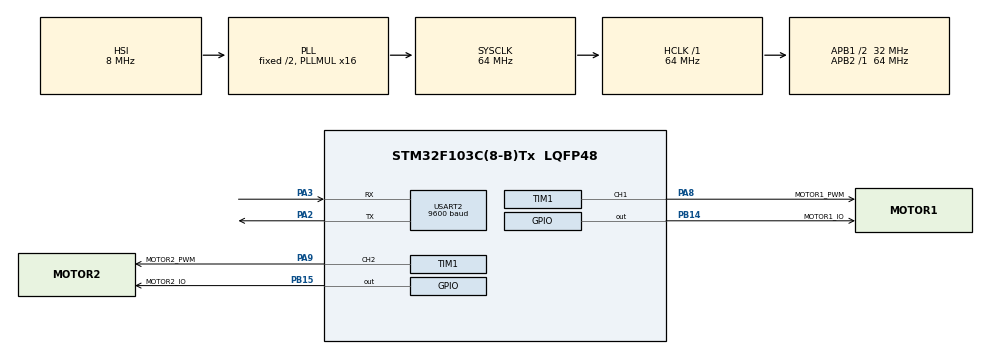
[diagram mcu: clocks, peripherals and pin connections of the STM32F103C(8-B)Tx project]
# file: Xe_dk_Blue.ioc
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Mcu.Family=STM32F1
Mcu.Name=STM32F103C(8-B)Tx
Mcu.Package=LQFP48
NVIC.PriorityGroup=NVIC_PRIORITYGROUP_4
PA13.Mode=Serial_Wire
PA13.Signal=SYS_JTMS-SWDIO
PA14.Mode=Serial_Wire
PA14.Signal=SYS_JTCK-SWCLK
PA2.Mode=Asynchronous
PA2.Signal=USART2_TX
PA3.Mode=Asynchronous
PA3.Signal=USART2_RX
PA8.GPIO_Label=MOTOR1_PWM
PA8.Signal=S_TIM1_CH1
PA9.GPIO_Label=MOTOR2_PWM
PA9.Signal=S_TIM1_CH2
PB14.GPIO_Label=MOTOR1_IO
PB14.Signal=GPIO_Output
PB15.GPIO_Label=MOTOR2_IO
PB15.Signal=GPIO_Output
ProjectManager.HeapSize=0x200
ProjectManager.StackSize=0x400
ProjectManager.TargetToolchain=MDK-ARM V5.32
RCC.AHBFreq_Value=64000000
RCC.APB1CLKDivider=RCC_HCLK_DIV2
RCC.APB1Freq_Value=32000000
RCC.APB1TimFreq_Value=64000000
RCC.APB2Freq_Value=64000000
RCC.APB2TimFreq_Value=64000000
RCC.HCLKFreq_Value=64000000
RCC.PLLMUL=RCC_PLL_MUL16
RCC.SYSCLKFreq_VALUE=64000000
RCC.SYSCLKSource=RCC_SYSCLKSOURCE_PLLCLK
RCC.USBFreq_Value=64000000
SH.S_TIM1_CH1.0=TIM1_CH1,PWM Generation1 CH1
SH.S_TIM1_CH2.0=TIM1_CH2,PWM Generation2 CH2
TIM1.Channel-PWM\ Generation1\ CH1=TIM_CHANNEL_1
TIM1.Channel-PWM\ Generation2\ CH2=TIM_CHANNEL_2
USART2.BaudRate=9600
USART2.VirtualMode=VM_ASYNC
VP_TIM1_VS_ClockSourceINT.Mode=Internal
board=custom

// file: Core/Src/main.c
/* USER CODE BEGIN Header */
/**
  ******************************************************************************
  * @file           : main.c
  * @brief          : Main program body
  ******************************************************************************
  * @attention
  *
  * Copyright (c) 2025 STMicroelectronics.
  * All rights reserved.
  *
  * This software is licensed under terms that can be found in the LICENSE file
  * in the root directory of this software component.
  * If no LICENSE file comes with this software, it is provided AS-IS.
  *
  ******************************************************************************
  */
/* USER CODE END Header */
#include "main.h"

/* USER CODE BEGIN Includes */
#include "Car.h"
#include "Motor.h"
/* USER CODE END Includes */

TIM_HandleTypeDef htim1;

UART_HandleTypeDef huart2;

/* USER CODE BEGIN PV */
Motor_Typedef motor_left;
Motor_Typedef motor_right;
uint8_t rx_data;
/* USER CODE END PV */

void SystemClock_Config(void);
static void MX_GPIO_Init(void);
static void MX_TIM1_Init(void);
static void MX_USART2_UART_Init(void);
/* USER CODE BEGIN PFP */
void HAL_UART_RxCpltCallback(UART_HandleTypeDef *huart)
{
    if (huart->Instance == USART2)
    {
        switch(rx_data)
        {
            case 'F': car_control(CAR_FORWARD); break;
            case 'B': car_control(CAR_BACKWARD); break;
            case 'L': car_control(CAR_LEFT); break;
            case 'R': car_control(CAR_RIGHT); break;
            case 'S': car_control(CAR_STOP); break;
        }
        // Nh?n ti?p 1 byte sau khi x? l� xong
        HAL_UART_Receive_IT(&huart2, &rx_data, 1);
    }
}
/* USER CODE END PFP */

int main(void)
{

  /* MCU Configuration--------------------------------------------------------*/

  /* Reset of all peripherals, Initializes the Flash interface and the Systick. */
  HAL_Init();

  /* Configure the system clock */
  SystemClock_Config();

  /* Initialize all configured peripherals */
  MX_GPIO_Init();
  MX_TIM1_Init();
  MX_USART2_UART_Init();
  /* USER CODE BEGIN 2 */
	HAL_TIM_PWM_Start(&htim1, TIM_CHANNEL_1);
	HAL_TIM_PWM_Start(&htim1, TIM_CHANNEL_2);

	motor_init(&motor_left, GPIOA, GPIO_PIN_0, &htim1, TIM_CHANNEL_1);
  motor_init(&motor_right, GPIOA, GPIO_PIN_1, &htim1, TIM_CHANNEL_2);

	HAL_UART_Receive_IT(&huart2, &rx_data, 1);
  /* USER CODE END 2 */

  /* Infinite loop */
  while (1)
  {

  }
}

void SystemClock_Config(void)
{
  RCC_OscInitTypeDef RCC_OscInitStruct = {0};
  RCC_ClkInitTypeDef RCC_ClkInitStruct = {0};

  /** Initializes the RCC Oscillators according to the specified parameters
  * in the RCC_OscInitTypeDef structure.
  */
  RCC_OscInitStruct.OscillatorType = RCC_OSCILLATORTYPE_HSI;
  RCC_OscInitStruct.HSIState = RCC_HSI_ON;
  RCC_OscInitStruct.HSICalibrationValue = RCC_HSICALIBRATION_DEFAULT;
  RCC_OscInitStruct.PLL.PLLState = RCC_PLL_ON;
  RCC_OscInitStruct.PLL.PLLSource = RCC_PLLSOURCE_HSI_DIV2;
  RCC_OscInitStruct.PLL.PLLMUL = RCC_PLL_MUL16;
  if (HAL_RCC_OscConfig(&RCC_OscInitStruct) != HAL_OK)
  {
    Error_Handler();
  }

  /** Initializes the CPU, AHB and APB buses clocks
  */
  RCC_ClkInitStruct.ClockType = RCC_CLOCKTYPE_HCLK|RCC_CLOCKTYPE_SYSCLK
                              |RCC_CLOCKTYPE_PCLK1|RCC_CLOCKTYPE_PCLK2;
  RCC_ClkInitStruct.SYSCLKSource = RCC_SYSCLKSOURCE_PLLCLK;
  RCC_ClkInitStruct.AHBCLKDivider = RCC_SYSCLK_DIV1;
  RCC_ClkInitStruct.APB1CLKDivider = RCC_HCLK_DIV2;
  RCC_ClkInitStruct.APB2CLKDivider = RCC_HCLK_DIV1;

  if (HAL_RCC_ClockConfig(&RCC_ClkInitStruct, FLASH_LATENCY_2) != HAL_OK)
  {
    Error_Handler();
  }
}

static void MX_TIM1_Init(void)
{

  TIM_ClockConfigTypeDef sClockSourceConfig = {0};
  TIM_MasterConfigTypeDef sMasterConfig = {0};
  TIM_OC_InitTypeDef sConfigOC = {0};
  TIM_BreakDeadTimeConfigTypeDef sBreakDeadTimeConfig = {0};

  htim1.Instance = TIM1;
  htim1.Init.Prescaler = 0;
  htim1.Init.CounterMode = TIM_COUNTERMODE_UP;
  htim1.Init.Period = 65535;
  htim1.Init.ClockDivision = TIM_CLOCKDIVISION_DIV1;
  htim1.Init.RepetitionCounter = 0;
  htim1.Init.AutoReloadPreload = TIM_AUTORELOAD_PRELOAD_DISABLE;
  if (HAL_TIM_Base_Init(&htim1) != HAL_OK)
  {
    Error_Handler();
  }
  sClockSourceConfig.ClockSource = TIM_CLOCKSOURCE_INTERNAL;
  if (HAL_TIM_ConfigClockSource(&htim1, &sClockSourceConfig) != HAL_OK)
  {
    Error_Handler();
  }
  if (HAL_TIM_PWM_Init(&htim1) != HAL_OK)
  {
    Error_Handler();
  }
  sMasterConfig.MasterOutputTrigger = TIM_TRGO_RESET;
  sMasterConfig.MasterSlaveMode = TIM_MASTERSLAVEMODE_DISABLE;
  if (HAL_TIMEx_MasterConfigSynchronization(&htim1, &sMasterConfig) != HAL_OK)
  {
    Error_Handler();
  }
  sConfigOC.OCMode = TIM_OCMODE_PWM1;
  sConfigOC.Pulse = 0;
  sConfigOC.OCPolarity = TIM_OCPOLARITY_HIGH;
  sConfigOC.OCNPolarity = TIM_OCNPOLARITY_HIGH;
  sConfigOC.OCFastMode = TIM_OCFAST_DISABLE;
  sConfigOC.OCIdleState = TIM_OCIDLESTATE_RESET;
  sConfigOC.OCNIdleState = TIM_OCNIDLESTATE_RESET;
  if (HAL_TIM_PWM_ConfigChannel(&htim1, &sConfigOC, TIM_CHANNEL_1) != HAL_OK)
  {
    Error_Handler();
  }
  if (HAL_TIM_PWM_ConfigChannel(&htim1, &sConfigOC, TIM_CHANNEL_2) != HAL_OK)
  {
    Error_Handler();
  }
  sBreakDeadTimeConfig.OffStateRunMode = TIM_OSSR_DISABLE;
  sBreakDeadTimeConfig.OffStateIDLEMode = TIM_OSSI_DISABLE;
  sBreakDeadTimeConfig.LockLevel = TIM_LOCKLEVEL_OFF;
  sBreakDeadTimeConfig.DeadTime = 0;
  sBreakDeadTimeConfig.BreakState = TIM_BREAK_DISABLE;
  sBreakDeadTimeConfig.BreakPolarity = TIM_BREAKPOLARITY_HIGH;
  sBreakDeadTimeConfig.AutomaticOutput = TIM_AUTOMATICOUTPUT_DISABLE;
  if (HAL_TIMEx_ConfigBreakDeadTime(&htim1, &sBreakDeadTimeConfig) != HAL_OK)
  {
    Error_Handler();
  }
  HAL_TIM_MspPostInit(&htim1);

}

static void MX_USART2_UART_Init(void)
{

  huart2.Instance = USART2;
  huart2.Init.BaudRate = 9600;
  huart2.Init.WordLength = UART_WORDLENGTH_8B;
  huart2.Init.StopBits = UART_STOPBITS_1;
  huart2.Init.Parity = UART_PARITY_NONE;
  huart2.Init.Mode = UART_MODE_TX_RX;
  huart2.Init.HwFlowCtl = UART_HWCONTROL_NONE;
  huart2.Init.OverSampling = UART_OVERSAMPLING_16;
  if (HAL_UART_Init(&huart2) != HAL_OK)
  {
    Error_Handler();
  }

}

static void MX_GPIO_Init(void)
{
  GPIO_InitTypeDef GPIO_InitStruct = {0};

  /* GPIO Ports Clock Enable */
  __HAL_RCC_GPIOA_CLK_ENABLE();
  __HAL_RCC_GPIOB_CLK_ENABLE();

  /*Configure GPIO pin Output Level */
  HAL_GPIO_WritePin(GPIOB, MOTOR1_IO_Pin|MOTOR2_IO_Pin, GPIO_PIN_RESET);

  /*Configure GPIO pins : MOTOR1_IO_Pin MOTOR2_IO_Pin */
  GPIO_InitStruct.Pin = MOTOR1_IO_Pin|MOTOR2_IO_Pin;
  GPIO_InitStruct.Mode = GPIO_MODE_OUTPUT_PP;
  GPIO_InitStruct.Pull = GPIO_NOPULL;
  GPIO_InitStruct.Speed = GPIO_SPEED_FREQ_LOW;
  HAL_GPIO_Init(GPIOB, &GPIO_InitStruct);

}

void Error_Handler(void)
{
  __disable_irq();
  while (1)
  {
  }
}
